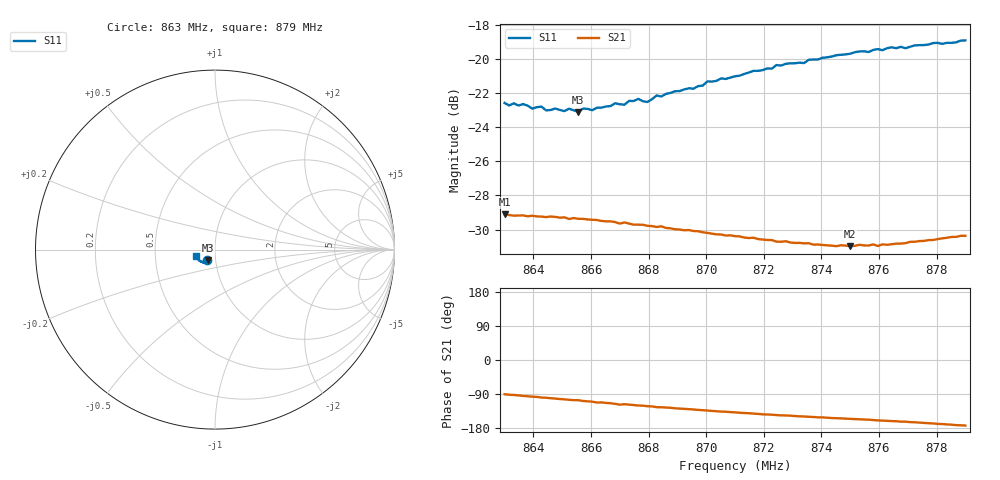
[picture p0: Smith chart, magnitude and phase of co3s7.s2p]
# HZ S RI R 50
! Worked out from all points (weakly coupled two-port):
!   101 points, 863 MHz to 879 MHz, reference 50 ohm
!   highest |S21| = -29.11 dB at 863 MHz (marker M1); lowest = -31.0 dB at 875 MHz (marker M2)
!   lowest |S11| = -23.1 dB at 865.56 MHz (marker M3), VSWR 1.15, Z = 46.1 - j5.51 ohm
!   |S11| at or under -10 dB: start of sweep to end of sweep
!   S12 and S22 are empty: the file has one direction only
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8.63e8  -0.0456 -0.0587  -0.000185 -0.035  0 0  0 0
8.6364e8  -0.0451 -0.0585  -0.00292 -0.0347  0 0  0 0
8.6396e8  -0.0422 -0.0578  -0.00407 -0.0345  0 0  0 0
8.6428e8  -0.0417 -0.0594  -0.00544 -0.0341  0 0  0 0
8.6444e8  -0.0418 -0.057  -0.00575 -0.0339  0 0  0 0
8.6524e8  -0.0406 -0.0589  -0.00877 -0.0328  0 0  0 0
8.6556e8  -0.0369 -0.0595  -0.00944 -0.0327  0 0  0 0
8.6572e8  -0.0386 -0.0602  -0.0106 -0.0323  0 0  0 0
8.6604e8  -0.0377 -0.0599  -0.0115 -0.0317  0 0  0 0
8.6684e8  -0.0389 -0.0631  -0.0144 -0.03  0 0  0 0
8.6716e8  -0.0381 -0.0628  -0.0149 -0.0296  0 0  0 0
8.6764e8  -0.0398 -0.0653  -0.0164 -0.0283  0 0  0 0
8.6796e8  -0.0388 -0.064  -0.0172 -0.0275  0 0  0 0
8.6828e8  -0.0404 -0.067  -0.0182 -0.0265  0 0  0 0
8.6844e8  -0.0401 -0.0665  -0.0184 -0.0266  0 0  0 0
8.6956e8  -0.0452 -0.0683  -0.0204 -0.0238  0 0  0 0
8.7004e8  -0.0475 -0.0717  -0.0212 -0.0225  0 0  0 0
8.71e8  -0.0533 -0.0713  -0.0225 -0.0202  0 0  0 0
8.7372e8  -0.0709 -0.0701  -0.0248 -0.0141  0 0  0 0
8.75e8  -0.0809 -0.0649  -0.0257 -0.0118  0 0  0 0
8.7644e8  -0.0921 -0.0569  -0.0271 -0.00923  0 0  0 0
8.79e8  -0.1074 -0.0362  -0.0301 -0.0037  0 0  0 0
